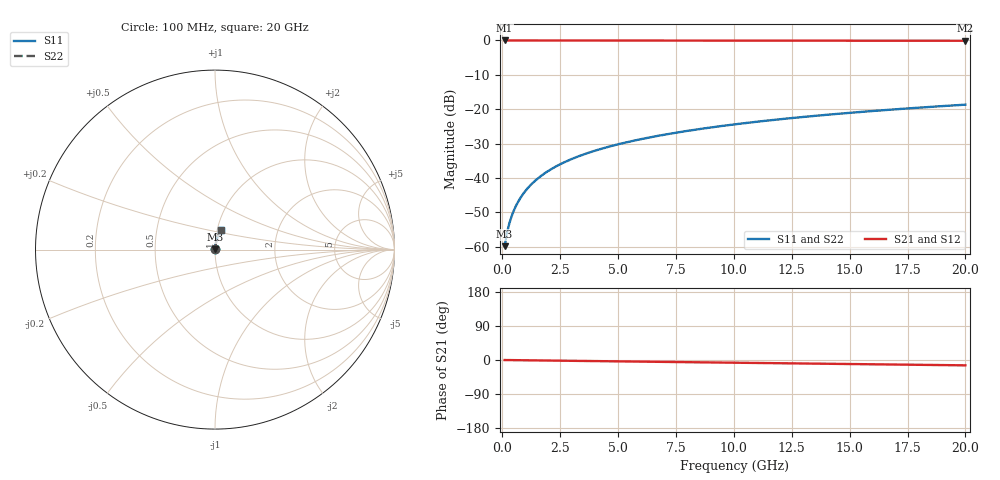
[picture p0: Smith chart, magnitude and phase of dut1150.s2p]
! Touchstone file exported from HFSS 2026.1.0
!  File:  C:/ffzhzh/LocalFiles/Ansys_Project_Files/temp_train_BSMRDL_1150_1783175623_51560.aedt
!  Generated:  10:34:52 PM Jul  4, 2026
!  Design:  BSMRDL
!  Project:  temp_train_BSMRDL_1150_1783175623_51560
! Variables:
!  h_bsmrdl = 5.73um
!  h_ox = 20um
!  h_rdl = 5um
!  h_sub = 80um
!  h_tmrdl = 5um
!  h_tsv = 80um
!  h_via = 3um
!  l_bsmrdl = 197.29um
!  l_sub = 597.29um
!  l_tmrdl = 200um
!  m_sub = 200um
!  pitch = 39.67um
!  r_tsv = 6um
!  s_tmrdl = 10um
!  w_bsmrdl = 20.57um
!  w_sub = 500um
!  w_tmrdl = 12um
!  x_tsv_center1 = 206um
!  x_tsv_center2 = 423.86um
!  x_tsv_center3 = 635.86um
!  x_tsv_center4 = 853.72um
!  x_tsv_center5 = 1065.72um
!  x_tsv_center6 = 1283.58um
# GHz S MA R 50.000000
! Terminal data exported
! Port[1] = BSM_RDL1_1_T1
! Port[2] = BSM_RDL1_1_T2
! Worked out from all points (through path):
!   200 points, 100 MHz to 20 GHz, reference 50 ohm
!   highest |S21| = -0.01 dB at 100 MHz (marker M1); lowest = -0.1 dB at 20 GHz (marker M2)
!   group delay of S21, straight-line fit = 1.95 ps
!   lowest |S11| = -59.8 dB at 100 MHz (marker M3), VSWR 1.00, Z = 50.1 + j0.0707 ohm
!   |S11| at or under -10 dB: start of sweep to end of sweep
!   |S22| runs from -59.8 to -18.7 dB; largest |S21 - S12| = 2.1e-15
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0.1  0.001018 43.9  0.9993 -0.1  0.9993 -0.1  0.001018 43.9
! Gamma 0 0 0 0
! Port Impedance 50 0 50 0
0.2  0.001575 59.9  0.9992 -0.2  0.9992 -0.2  0.001575 59.9
0.3  0.002161 67.4  0.9992 -0.2  0.9992 -0.2  0.002161 67.4
0.4  0.002761 71.8  0.9991 -0.3  0.9991 -0.3  0.002761 71.8
0.5  0.00337 74.7  0.9991 -0.4  0.9991 -0.4  0.00337 74.7
0.6  0.003986 76.7  0.9991 -0.4  0.9991 -0.4  0.003986 76.7
0.8  0.00523 79.3  0.9991 -0.6  0.9991 -0.6  0.00523 79.3
1.1  0.007108 81.3  0.999 -0.8  0.999 -0.8  0.007108 81.3
1.3  0.008362 82.0  0.9989 -1.0  0.9989 -1.0  0.008362 82.0
1.5  0.009614 82.5  0.9989 -1.1  0.9989 -1.1  0.009614 82.5
1.8  0.01149 83.0  0.9988 -1.3  0.9988 -1.3  0.01149 83.0
2.1  0.01335 83.2  0.9987 -1.5  0.9987 -1.5  0.01335 83.2
2.7  0.01704 83.3  0.9984 -2.0  0.9984 -2.0  0.01704 83.3
3.5  0.02189 83.1  0.9981 -2.5  0.9981 -2.5  0.02189 83.1
4.2  0.02608 82.8  0.9978 -3.0  0.9978 -3.0  0.02608 82.8
5  0.03083 82.5  0.9974 -3.6  0.9974 -3.6  0.03083 82.5
6.8  0.0414 81.6  0.9966 -4.9  0.9966 -4.9  0.0414 81.6
8.3  0.05013 80.9  0.9959 -5.9  0.9959 -5.9  0.05013 80.9
10.1  0.06054 79.8  0.9951 -7.2  0.9951 -7.2  0.06054 79.8
13.4  0.07943 77.9  0.9932 -9.5  0.9932 -9.5  0.07943 77.9
16.7  0.09806 75.8  0.9912 -11.8  0.9912 -11.8  0.09806 75.8
20  0.1164 73.7  0.9888 -14.1  0.9888 -14.1  0.1164 73.7
